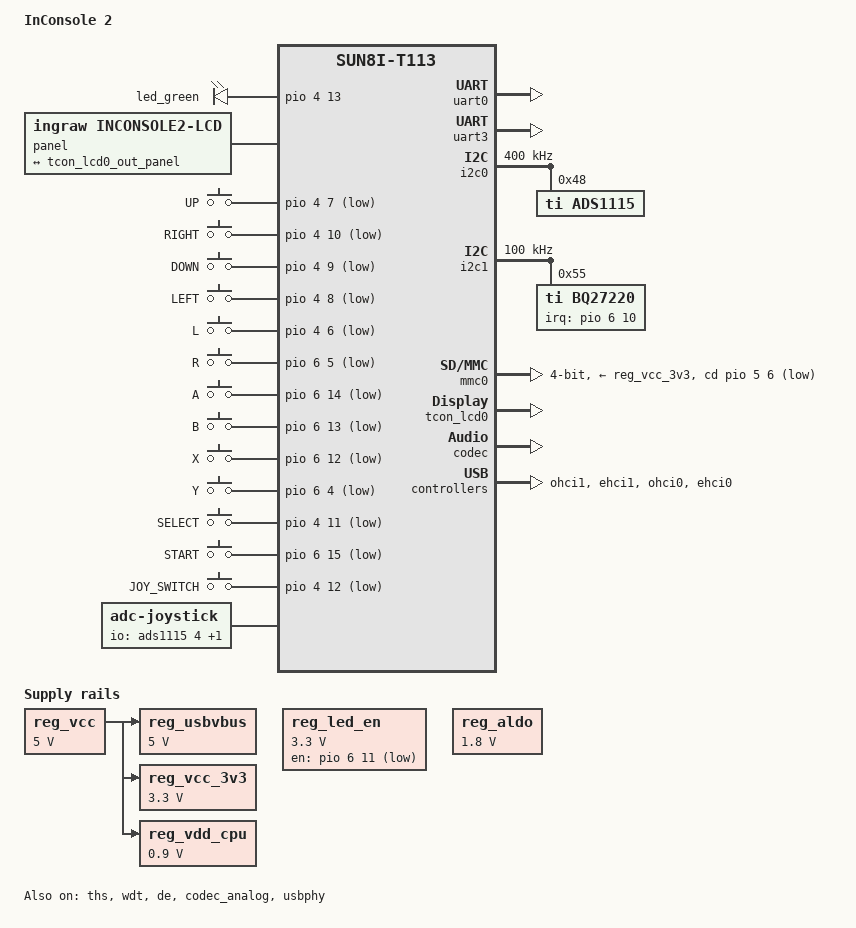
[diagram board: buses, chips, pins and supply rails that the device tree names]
// SPDX-License-Identifier: (GPL-2.0+ or MIT)
// Copyright (C) 2022 Samuel Holland <samuel@sholland.org>

/dts-v1/;

#include <dt-bindings/gpio/gpio.h>
#include <dt-bindings/interrupt-controller/irq.h>
#include <dt-bindings/input/input.h>
#include <dt-bindings/leds/common.h>
#include "sun8i-t113.dtsi"

/ {
	model = "InConsole 2";
	compatible = "ingraw,inconsole2", "allwinner,sun8i-t113";

	aliases {
		mmc0 = &mmc0;
		serial0 = &uart0;
		serial3 = &uart3;
	};

	chosen {
		stdout-path = "serial0:115200n8";
	};

	reg_vcc: vcc {
		compatible = "regulator-fixed";
		regulator-name = "vcc";
		regulator-min-microvolt = <5000000>;
		regulator-max-microvolt = <5000000>;
	};

	reg_usbvbus: usbvbus {
		compatible = "regulator-fixed";
		regulator-name = "usbvbus";
		regulator-min-microvolt = <5000000>;
		regulator-max-microvolt = <5000000>;
		vin-supply = <&reg_vcc>;
	};

	reg_vcc_3v3: vcc-3v3 {
		compatible = "regulator-fixed";
		regulator-name = "vcc-3v3";
		regulator-min-microvolt = <3300000>;
		regulator-max-microvolt = <3300000>;
		vin-supply = <&reg_vcc>;
	};

	reg_vdd_cpu: vdd-cpu {
		compatible = "regulator-fixed";
		regulator-name = "vdd-cpu";
		regulator-min-microvolt = <900000>;
		regulator-max-microvolt = <900000>;
		vin-supply = <&reg_vcc>;
	};

	reg_led_en: led-en {
            compatible = "regulator-fixed";
            regulator-name = "led_en_signal";
            gpio = <&pio 6 11 GPIO_ACTIVE_HIGH>;
            regulator-min-microvolt = <3300000>;
            regulator-max-microvolt = <3300000>;
 
            regulator-always-on;
            regulator-boot-on;
        };

	leds {
		compatible = "gpio-leds";

		status {
			label = "led_green";
			linux,default-trigger = "heartbeat";
			gpios = <&pio 4 13 GPIO_ACTIVE_HIGH>;
		};
	};

	panel {
		compatible = "ingraw,inconsole2-lcd", "simple-panel";
		port {
			panel_input: endpoint {
				remote-endpoint = <&tcon_lcd0_out_panel>;
			};
		};
	};

	gpio-keys {
		compatible = "gpio-keys";
		autorepeat;

		key_up {
			label = "UP";
			linux,code = <BTN_DPAD_UP>;
			gpios = <&pio 4 7 (GPIO_ACTIVE_LOW | GPIO_PULL_UP)>;   /* PE7 */
			debounce-interval = <10>;
		};

		key_right {
			label = "RIGHT";
			linux,code = <BTN_DPAD_RIGHT>;
			gpios = <&pio 4 10 (GPIO_ACTIVE_LOW | GPIO_PULL_UP)>;  /* PE10 */
			debounce-interval = <10>;
		};

		key_down {
			label = "DOWN";
			linux,code = <BTN_DPAD_DOWN>;
			gpios = <&pio 4 9 (GPIO_ACTIVE_LOW | GPIO_PULL_UP)>;   /* PE9 */
			debounce-interval = <10>;
		};

		key_left {
			label = "LEFT";
			linux,code = <BTN_DPAD_LEFT>;
			gpios = <&pio 4 8 (GPIO_ACTIVE_LOW | GPIO_PULL_UP)>;   /* PE8 */
			debounce-interval = <10>;
		};

		key_l {
			label = "L";
			linux,code = <BTN_TL>;
			gpios = <&pio 4 6 (GPIO_ACTIVE_LOW | GPIO_PULL_UP)>;   /* PE6 */
			debounce-interval = <10>;
		};

		key_r {
			label = "R";
			linux,code = <BTN_TR>;
			gpios = <&pio 6 5 (GPIO_ACTIVE_LOW | GPIO_PULL_UP)>;   /* PG5 */
			debounce-interval = <10>;
		};

		key_a {
			label = "A";
			linux,code = <BTN_SOUTH>;
			gpios = <&pio 6 14 (GPIO_ACTIVE_LOW | GPIO_PULL_UP)>;  /* PG14 */
			debounce-interval = <10>;
		};

		key_b {
			label = "B";
			linux,code = <BTN_EAST>;
			gpios = <&pio 6 13 (GPIO_ACTIVE_LOW | GPIO_PULL_UP)>;  /* PG13 */
			debounce-interval = <10>;
		};

		key_x {
			label = "X";
			linux,code = <BTN_NORTH>;
			gpios = <&pio 6 12 (GPIO_ACTIVE_LOW | GPIO_PULL_UP)>;  /* PG12 */
			debounce-interval = <10>;
		};

		key_y {
			label = "Y";
			linux,code = <BTN_WEST>;
			gpios = <&pio 6 4 (GPIO_ACTIVE_LOW | GPIO_PULL_UP)>;   /* PG4 */
			debounce-interval = <10>;
		};

		key_select {
			label = "SELECT";
			linux,code = <BTN_SELECT>;
			gpios = <&pio 4 11 (GPIO_ACTIVE_LOW | GPIO_PULL_UP)>;  /* PE11 */
			debounce-interval = <10>;
		};

		key_start {
			label = "START";
			linux,code = <BTN_START>;
			gpios = <&pio 6 15 (GPIO_ACTIVE_LOW | GPIO_PULL_UP)>;  /* PG15 */
			debounce-interval = <10>;
		};

		key_joy_switch {
			label = "JOY_SWITCH";
			linux,code = <BTN_THUMBL>;
			gpios = <&pio 4 12 (GPIO_ACTIVE_LOW | GPIO_PULL_UP)>;  /* PE12 */
			debounce-interval = <10>;
		};
	};

	joystick {
		compatible = "adc-joystick";
		io-channels = <&ads1115 4>, <&ads1115 5>;
		poll-interval = <20>;
		#address-cells = <1>;
		#size-cells = <0>;

		axis@0 {
			reg = <0>;
			linux,code = <ABS_Y>;
			abs-range = <0 26624>;
			abs-fuzz = <96>;
			abs-flat = <1200>;
		};

		axis@1 {
			reg = <1>;
			linux,code = <ABS_X>;
			abs-range = <26624 0>;
			abs-fuzz = <96>;
			abs-flat = <1200>;
		};
	};
};


// SYSTEM
&reg_aldo {
	regulator-min-microvolt = <1800000>;
	regulator-max-microvolt = <1800000>;
	vdd33-supply = <&reg_vcc_3v3>;
};

&cpu0 {
	cpu-supply = <&reg_vdd_cpu>;
};

&cpu1 {
	cpu-supply = <&reg_vdd_cpu>;
};

&ths {
	status = "okay";
};

&wdt {
	status = "okay";
};

&de {
	status = "okay";
};

&pio {
	vcc-pb-supply = <&reg_vcc_3v3>;
	vcc-pc-supply = <&reg_vcc_3v3>;
	vcc-pd-supply = <&reg_vcc_3v3>;
	vcc-pe-supply = <&reg_vcc_3v3>;
	vcc-pf-supply = <&reg_vcc_3v3>;
	vcc-pg-supply = <&reg_vcc_3v3>;

};

&uart0 {
	pinctrl-0 = <&uart0_pb8_pins>;
	pinctrl-names = "default";
	status = "okay";
};

&uart3 {
	pinctrl-0 = <&uart3_pb_pins>;
	pinctrl-names = "default";
	status = "okay";
};

&i2c0 {
	pinctrl-0 = <&i2c0_pe2_pins>;
	pinctrl-names = "default";
	clock-frequency = <400000>;
	status = "okay";

	ads1115: adc@48 {
		compatible = "ti,ads1115";
		reg = <0x48>;
		#address-cells = <1>;
		#size-cells = <0>;
		#io-channel-cells = <1>;

		channel@4 {
			reg = <4>;
			ti,gain = <1>;
		};

		channel@5 {
			reg = <5>;
			ti,gain = <1>;
		};
	};
};

&i2c1 {
	pinctrl-0 = <&i2c1_pg8_pins>;
	pinctrl-names = "default";
	/* Keep fuel-gauge bus conservative after hardware rework. */
	clock-frequency = <100000>;
	status = "okay";

	bq27220: fuel-gauge@55 {
		compatible = "ti,bq27220";
		reg = <0x55>;
		interrupt-parent = <&pio>;
		interrupts = <6 10 IRQ_TYPE_EDGE_FALLING>; /* PG10 = GPOUT */
		ti,assume-battery-present;
	};
};

&mmc0 {
	bus-width = <4>;
	cd-gpios = <&pio 5 6 (GPIO_ACTIVE_LOW)>;
	disable-wp;
	vmmc-supply = <&reg_vcc_3v3>;
	vqmmc-supply = <&reg_vcc_3v3>;
	pinctrl-0 = <&mmc0_pins>;
	pinctrl-names = "default";
	status = "okay";
};


// LCD
&tcon_lcd0 {
	pinctrl-names = "default";
	pinctrl-0 = <&lcd_rgb666_pins>;
	status = "okay";
};

&tcon_lcd0_out {
	tcon_lcd0_out_panel: endpoint@0 {
		reg = <0>;
		remote-endpoint = <&panel_input>;
	};
};

// SPEAKER
&codec {
	routing = "Speaker", "HP";
	allwinner,audio-routing = "Speaker", "HP";
	widgets = "Speaker", "Main Speaker";
	status = "okay";
};

&codec_analog {
	status = "okay";
};

// USB
&ohci1 {
	status = "okay";
};

&ehci1 {
	status = "okay";
};

&ohci0 {
	status = "okay";
};

&ehci0 {
	status = "okay";
};

&usbphy {
	usb0_vbus-supply = <&reg_usbvbus>;
	usb1_vbus-supply = <&reg_usbvbus>;
	status = "okay";
};
